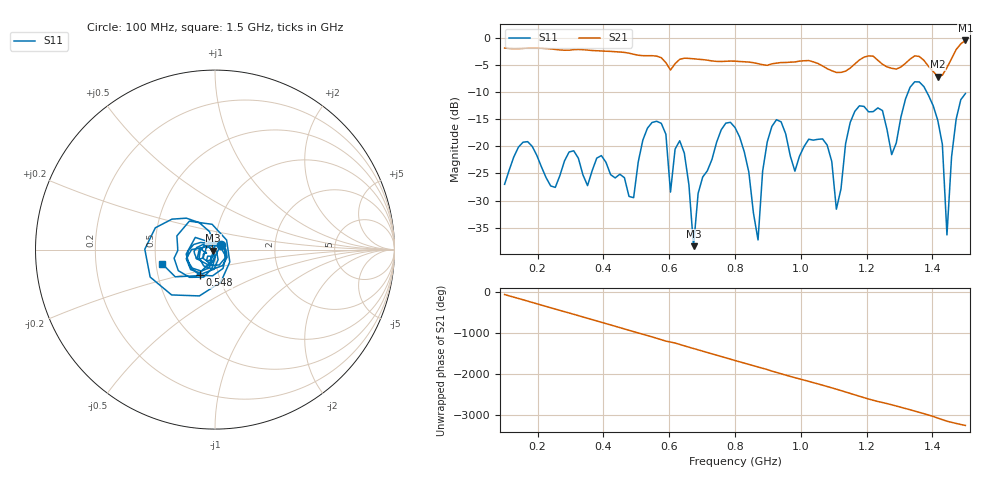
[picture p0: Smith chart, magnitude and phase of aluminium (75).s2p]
! NanoVNA-App
! Date: 2025-09-26 09:58:38
! Start: 100MHz Stop: 1,5GHz Points: 101
! S-Parameter data: F S11 S21 S12 S22
# Hz S RI R 50
!  Frequency  S11_Real  S11_Imag  S21_Real  S21_Imag  S12_Real  S12_Imag  S22_Real  S22_Imag
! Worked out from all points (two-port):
!   101 points, 100 MHz to 1.5 GHz, reference 50 ohm
!   highest |S21| = -0.51 dB at 1.5 GHz (marker M1); lowest = -7.2 dB at 1.416 GHz (marker M2)
!   |S21| within 3 dB of the highest: start of sweep to 567.7 MHz; 1.461 GHz to end of sweep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
!   lowest |S11| = -38.4 dB at 674 MHz (marker M3), VSWR 1.02, Z = 49 - j0.599 ohm
!   |S11| at or under -10 dB: start of sweep to 1.326 GHz; 1.382 GHz to end of sweep
!   S12 and S22 are empty: the file has one direction only
!   S11 on the Smith chart (normalised r, x): 100 MHz: 1.07, +0.06; 548 MHz: 0.81, -0.24; 1.5 GHz: 0.54, -0.09
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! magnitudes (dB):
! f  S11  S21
! 100 MHz  -27.0  -1.9
! 156 MHz  -19.2  -2.0
! 338 MHz  -25.3  -2.2
! 492 MHz  -29.5  -3.1
! 548 MHz  -15.6  -3.3
! 576 MHz  -15.8  -3.7
! 604 MHz  -28.4  -6.0
! 646 MHz  -21.3  -3.8
! 674 MHz  -38.4  -3.9
! 702 MHz  -25.6  -4.0
! 800 MHz  -16.5  -4.3
! 870 MHz  -37.2  -4.8
! 912 MHz  -16.3  -4.8
! 1.038 GHz  -18.9  -4.5
! 1.108 GHz  -31.6  -6.4
! 1.178 GHz  -12.5  -4.1
! 1.276 GHz  -21.5  -5.6
! 1.346 GHz  -8.1  -3.4
! 1.416 GHz  -15.2  -7.2
! 1.444 GHz  -36.3  -5.5
! 1.472 GHz  -15.0  -2.2
! 1.5 GHz  -10.3  -0.5
